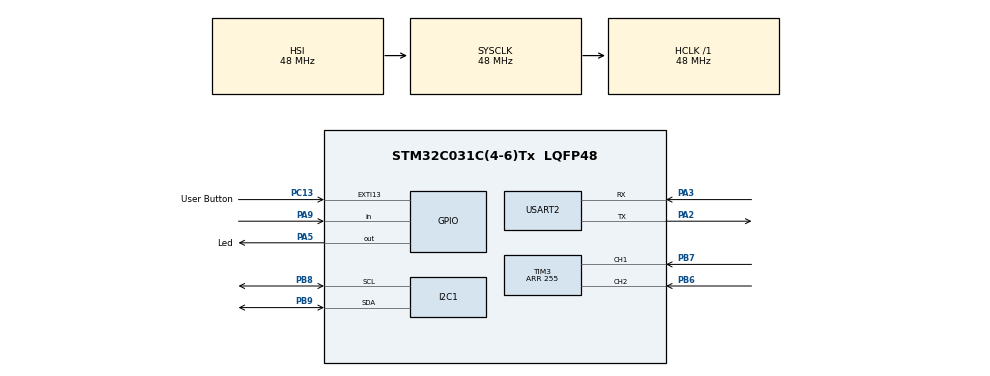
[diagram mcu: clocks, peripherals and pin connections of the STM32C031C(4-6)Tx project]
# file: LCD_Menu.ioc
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I2C1.Timing=0x20303E5D
Mcu.Family=STM32C0
Mcu.Name=STM32C031C(4-6)Tx
Mcu.Package=LQFP48
NVIC.EXTI4_15_IRQn=true\:0\:0\:false\:false\:true\:true\:true\:true
PA13.Mode=Serial_Wire
PA13.Signal=DEBUG_SWDIO
PA14-BOOT0.Mode=Serial_Wire
PA14-BOOT0.Signal=DEBUG_SWCLK
PA2.Mode=Asynchronous
PA2.Signal=USART2_TX
PA3.Mode=Asynchronous
PA3.Signal=USART2_RX
PA5.GPIO_Label=Led
PA5.GPIO_Speed=GPIO_SPEED_FREQ_VERY_HIGH
PA5.PinState=GPIO_PIN_SET
PA5.Signal=GPIO_Output
PA9.Signal=GPIO_Input
PB6.Signal=S_TIM3_CH2
PB7.Signal=S_TIM3_CH1
PB8.Mode=I2C
PB8.Signal=I2C1_SCL
PB9.Mode=I2C
PB9.Signal=I2C1_SDA
PC13.GPIO_Label=User Button
PC13.Signal=GPXTI13
PC14-OSCX_IN\ (PC14).Mode=LSE-External-Oscillator
PC14-OSCX_IN\ (PC14).Signal=RCC_OSCX_IN
PC15-OSCX_OUT\ (PC15).Mode=LSE-External-Oscillator
PC15-OSCX_OUT\ (PC15).Signal=RCC_OSCX_OUT
PF0-OSC_IN\ (PF0).Mode=HSE-External-Oscillator
PF0-OSC_IN\ (PF0).Signal=RCC_OSC_IN
PF1-OSC_OUT\ (PF1).Mode=HSE-External-Oscillator
PF1-OSC_OUT\ (PF1).Signal=RCC_OSC_OUT
ProjectManager.HeapSize=0x200
ProjectManager.StackSize=0x400
ProjectManager.TargetToolchain=STM32CubeIDE
RCC.ADCFreq_Value=48000000
RCC.AHBFreq_Value=48000000
RCC.CortexFreq_Value=48000000
RCC.EXTERNAL_CLOCK_VALUE=12288000
RCC.HCLKFreq_Value=48000000
RCC.HSE_VALUE=48000000
RCC.HSISYSCLKDivider=RCC_HSI_DIV1
RCC.HSI_VALUE=48000000
RCC.SYSCLKFreq_VALUE=48000000
SH.S_TIM3_CH1.0=TIM3_CH1,Encoder_Interface
SH.S_TIM3_CH2.0=TIM3_CH2,Encoder_Interface
TIM3.AutoReloadPreload=TIM_AUTORELOAD_PRELOAD_ENABLE
TIM3.EncoderMode=TIM_ENCODERMODE_TI12
TIM3.Period=255
USART2.VirtualMode-Asynchronous=VM_ASYNC
board=NUCLEO-C031C6

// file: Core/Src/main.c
/* USER CODE BEGIN Header */
/**
  ******************************************************************************
  * @file           : main.c
  * @brief          : Main program body
  ******************************************************************************
  * @attention
  *
  * Copyright (c) 2024 STMicroelectronics.
  * All rights reserved.
  *
  * This software is licensed under terms that can be found in the LICENSE file
  * in the root directory of this software component.
  * If no LICENSE file comes with this software, it is provided AS-IS.
  *
  ******************************************************************************
  */
/* USER CODE END Header */
#include "main.h"

/* USER CODE BEGIN Includes */
#include <stdio.h>
#include "LCD_I2C.h"
#include "LCD_Menu.h"
#include "LCD_Menu_Data.h"

/* USER CODE END Includes */

/* USER CODE BEGIN PD */
#define LCD_ADDRESS 0x20

/* USER CODE END PD */

I2C_HandleTypeDef hi2c1;

TIM_HandleTypeDef htim3;

UART_HandleTypeDef huart2;

/* USER CODE BEGIN PV */

LCD_HandleTypeDef hlcd;

volatile uint32_t counter = 0;
uint32_t prev_count = 0;

/* USER CODE END PV */

void SystemClock_Config(void);
static void MX_GPIO_Init(void);
static void MX_I2C1_Init(void);
static void MX_USART2_UART_Init(void);
static void MX_TIM3_Init(void);
/* USER CODE BEGIN PFP */
void initializeMenu(void);
uint8_t checkEncoderButtonChange (uint32_t interval, uint8_t * prevState);
GPIO_PinState readEncoderButton ();
uint32_t millis();

/* USER CODE END PFP */

/* USER CODE BEGIN 0 */
LCD_MENU_List menuLists[3];
LCD_MENU_Item menuItems[10];
LCD_MENU_Data dataItems[10];

char * hometxt[4] =
{
		"Set temp",
		"Current temp 1",
		"Current temp 2",
		"Process Name"
};

char * profiles[4] =
{
		"^..",
		"PEEK",
		"PPE",
		"milk jug",
};

char * temperatures[4] =
{
		"^..",
		"group 1",
		"group 2",
		""
};

char * speed[4] =
{
		"^..",
		"Kp: 1",
		"Ki: 0.5",
		"",
};

char * testStringArray1[4] =
{
		"^..",
		"gfjh",
		"kfghjk",
		"hjh"
};

char * testStringArray2[4] =
{
		"^..",
		"Poudrier",
		"Tevin",
		""
};

char * credits[4] =
{
		"Tevin Poudrier",
		"Jonah Shadley",
		"Colson Miller",
		"Josiah Mart"
};

/* USER CODE END 0 */

int main(void)
{

  /* MCU Configuration--------------------------------------------------------*/

  /* Reset of all peripherals, Initializes the Flash interface and the Systick. */
  HAL_Init();

  /* Configure the system clock */
  SystemClock_Config();

  /* USER CODE BEGIN SysInit */
  SysTick_Config(SystemCoreClock / 1000); //set to 1ms per tick

  /* USER CODE END SysInit */

  /* Initialize all configured peripherals */
  MX_GPIO_Init();
  MX_I2C1_Init();
  MX_USART2_UART_Init();
  MX_TIM3_Init();
  /* USER CODE BEGIN 2 */
  HAL_TIM_Encoder_Start(&htim3, TIM_CHANNEL_ALL);

  initializeMenu();

  LCD_MENU_List* headNode = &menuLists[0];
  LCD_MENU_List* currentList = headNode;
  LCD_MENU_Item* currentItem = NULL;

  LCD_MENU_PrintList (headNode);
  HAL_Delay(1000);

  uint8_t dir;
  uint8_t prevEncVal = 0;

  uint8_t inItem = 0;
  uint8_t editingData = 0;

  /* USER CODE END 2 */

  /* Infinite loop */
  /* USER CODE BEGIN WHILE */
  while (1)
  {
	  dir = (TIM3->CR1 & 0x0010) >> 4;

	  //Move cursor
	  if (inItem == 0) {
		  if (prevEncVal - TIM3->CNT > 2 && dir == 1) {
			  currentList = LCD_MENU_MoveListCursor(currentList, MV_CURSOR_DOWN);
		  }
		  else if (TIM3->CNT - prevEncVal > 2 && dir == 0) {
			  currentList = LCD_MENU_MoveListCursor(currentList, MV_CURSOR_UP);
		  }
	  }
	  else if(inItem == 1 && editingData == 0) {
		  if (prevEncVal - TIM3->CNT > 2 && dir == 1) {
			  currentItem = LCD_MENU_MoveItemCursor(currentItem, MV_CURSOR_DOWN);
		  }
		  else if (TIM3->CNT - prevEncVal > 2 && dir == 0) {
			  currentItem = LCD_MENU_MoveItemCursor(currentItem, MV_CURSOR_UP);
		  }

	  }

	  //Select item
	  if(HAL_GPIO_ReadPin(GPIOA, GPIO_PIN_9) == 1 && inItem == 0 && editingData == 0) {
		  inItem = 1;
		  currentItem = currentList->items[currentList->cursor];
		  LCD_MENU_PrintItem(currentItem);
	  }
	  //Select item action
	  else if(HAL_GPIO_ReadPin(GPIOA, GPIO_PIN_9) == 1 && inItem == 1 && editingData == 0) {
		  if (currentItem->type == ITEM_TYPE_DISPLAY) {
			  inItem = 0;
			  LCD_MENU_PrintList (currentList);
		  }
		  else if (currentItem->rowType[currentItem->cursor] == ITEM_ACTION_RETURN) {
			  inItem = 0;
			  LCD_MENU_PrintList (currentList);
		  }
		  else if (currentItem->rowType[currentItem->cursor] == ITEM_ACTION_DATA) {
			  editingData = 1;
			  LCD_SetCursor(&hlcd, 16, currentItem->cursor);
			  LCD_PrintChar(&hlcd, '>');
		  }

	  }

	  //Editing data
	  if (editingData == 1) {
		  if (prevEncVal != TIM3->CNT) {
			  LCD_MENU_DataIncrement(currentItem->dataElement[currentItem->cursor], dir);
		  }
		  if(HAL_GPIO_ReadPin(GPIOA, GPIO_PIN_9) == 1) {
			  editingData = 0;
			  LCD_SetCursor(&hlcd, 16, currentItem->cursor);
			  LCD_PrintChar(&hlcd, ' ');
		  }
	  }

	  if (counter - prev_count > 10) {
		  prevEncVal = TIM3->CNT;
	  }

	  HAL_Delay(50);

    /* USER CODE END WHILE */

  }
}

void SystemClock_Config(void)
{
  RCC_OscInitTypeDef RCC_OscInitStruct = {0};
  RCC_ClkInitTypeDef RCC_ClkInitStruct = {0};

  /** Initializes the RCC Oscillators according to the specified parameters
  * in the RCC_OscInitTypeDef structure.
  */
  RCC_OscInitStruct.OscillatorType = RCC_OSCILLATORTYPE_HSI;
  RCC_OscInitStruct.HSIState = RCC_HSI_ON;
  RCC_OscInitStruct.HSIDiv = RCC_HSI_DIV1;
  RCC_OscInitStruct.HSICalibrationValue = RCC_HSICALIBRATION_DEFAULT;
  if (HAL_RCC_OscConfig(&RCC_OscInitStruct) != HAL_OK)
  {
    Error_Handler();
  }

  /** Initializes the CPU, AHB and APB buses clocks
  */
  RCC_ClkInitStruct.ClockType = RCC_CLOCKTYPE_HCLK|RCC_CLOCKTYPE_SYSCLK
                              |RCC_CLOCKTYPE_PCLK1;
  RCC_ClkInitStruct.SYSCLKSource = RCC_SYSCLKSOURCE_HSI;
  RCC_ClkInitStruct.SYSCLKDivider = RCC_SYSCLK_DIV1;
  RCC_ClkInitStruct.AHBCLKDivider = RCC_HCLK_DIV1;
  RCC_ClkInitStruct.APB1CLKDivider = RCC_APB1_DIV1;

  if (HAL_RCC_ClockConfig(&RCC_ClkInitStruct, FLASH_LATENCY_1) != HAL_OK)
  {
    Error_Handler();
  }
}

static void MX_I2C1_Init(void)
{

  hi2c1.Instance = I2C1;
  hi2c1.Init.Timing = 0x20303E5D;
  hi2c1.Init.OwnAddress1 = 0;
  hi2c1.Init.AddressingMode = I2C_ADDRESSINGMODE_7BIT;
  hi2c1.Init.DualAddressMode = I2C_DUALADDRESS_DISABLE;
  hi2c1.Init.OwnAddress2 = 0;
  hi2c1.Init.OwnAddress2Masks = I2C_OA2_NOMASK;
  hi2c1.Init.GeneralCallMode = I2C_GENERALCALL_DISABLE;
  hi2c1.Init.NoStretchMode = I2C_NOSTRETCH_DISABLE;
  if (HAL_I2C_Init(&hi2c1) != HAL_OK)
  {
    Error_Handler();
  }

  /** Configure Analogue filter
  */
  if (HAL_I2CEx_ConfigAnalogFilter(&hi2c1, I2C_ANALOGFILTER_ENABLE) != HAL_OK)
  {
    Error_Handler();
  }

  /** Configure Digital filter
  */
  if (HAL_I2CEx_ConfigDigitalFilter(&hi2c1, 0) != HAL_OK)
  {
    Error_Handler();
  }

}

static void MX_TIM3_Init(void)
{

  TIM_Encoder_InitTypeDef sConfig = {0};
  TIM_MasterConfigTypeDef sMasterConfig = {0};

  htim3.Instance = TIM3;
  htim3.Init.Prescaler = 0;
  htim3.Init.CounterMode = TIM_COUNTERMODE_UP;
  htim3.Init.Period = 255;
  htim3.Init.ClockDivision = TIM_CLOCKDIVISION_DIV1;
  htim3.Init.AutoReloadPreload = TIM_AUTORELOAD_PRELOAD_ENABLE;
  sConfig.EncoderMode = TIM_ENCODERMODE_TI12;
  sConfig.IC1Polarity = TIM_ICPOLARITY_RISING;
  sConfig.IC1Selection = TIM_ICSELECTION_DIRECTTI;
  sConfig.IC1Prescaler = TIM_ICPSC_DIV1;
  sConfig.IC1Filter = 0;
  sConfig.IC2Polarity = TIM_ICPOLARITY_RISING;
  sConfig.IC2Selection = TIM_ICSELECTION_DIRECTTI;
  sConfig.IC2Prescaler = TIM_ICPSC_DIV1;
  sConfig.IC2Filter = 0;
  if (HAL_TIM_Encoder_Init(&htim3, &sConfig) != HAL_OK)
  {
    Error_Handler();
  }
  sMasterConfig.MasterOutputTrigger = TIM_TRGO_RESET;
  sMasterConfig.MasterSlaveMode = TIM_MASTERSLAVEMODE_DISABLE;
  if (HAL_TIMEx_MasterConfigSynchronization(&htim3, &sMasterConfig) != HAL_OK)
  {
    Error_Handler();
  }

}

static void MX_USART2_UART_Init(void)
{

  huart2.Instance = USART2;
  huart2.Init.BaudRate = 115200;
  huart2.Init.WordLength = UART_WORDLENGTH_8B;
  huart2.Init.StopBits = UART_STOPBITS_1;
  huart2.Init.Parity = UART_PARITY_NONE;
  huart2.Init.Mode = UART_MODE_TX_RX;
  huart2.Init.HwFlowCtl = UART_HWCONTROL_NONE;
  huart2.Init.OverSampling = UART_OVERSAMPLING_16;
  huart2.Init.OneBitSampling = UART_ONE_BIT_SAMPLE_DISABLE;
  huart2.Init.ClockPrescaler = UART_PRESCALER_DIV1;
  huart2.AdvancedInit.AdvFeatureInit = UART_ADVFEATURE_NO_INIT;
  if (HAL_UART_Init(&huart2) != HAL_OK)
  {
    Error_Handler();
  }

}

static void MX_GPIO_Init(void)
{
  GPIO_InitTypeDef GPIO_InitStruct = {0};

  /* GPIO Ports Clock Enable */
  __HAL_RCC_GPIOC_CLK_ENABLE();
  __HAL_RCC_GPIOF_CLK_ENABLE();
  __HAL_RCC_GPIOA_CLK_ENABLE();
  __HAL_RCC_GPIOB_CLK_ENABLE();

  /*Configure GPIO pin Output Level */
  HAL_GPIO_WritePin(Led_GPIO_Port, Led_Pin, GPIO_PIN_SET);

  /*Configure GPIO pin : User_Button_Pin */
  GPIO_InitStruct.Pin = User_Button_Pin;
  GPIO_InitStruct.Mode = GPIO_MODE_IT_RISING;
  GPIO_InitStruct.Pull = GPIO_NOPULL;
  HAL_GPIO_Init(User_Button_GPIO_Port, &GPIO_InitStruct);

  /*Configure GPIO pin : Led_Pin */
  GPIO_InitStruct.Pin = Led_Pin;
  GPIO_InitStruct.Mode = GPIO_MODE_OUTPUT_PP;
  GPIO_InitStruct.Pull = GPIO_NOPULL;
  GPIO_InitStruct.Speed = GPIO_SPEED_FREQ_VERY_HIGH;
  HAL_GPIO_Init(Led_GPIO_Port, &GPIO_InitStruct);

  /*Configure GPIO pin : PA9 */
  GPIO_InitStruct.Pin = GPIO_PIN_9;
  GPIO_InitStruct.Mode = GPIO_MODE_INPUT;
  GPIO_InitStruct.Pull = GPIO_NOPULL;
  HAL_GPIO_Init(GPIOA, &GPIO_InitStruct);

  /* EXTI interrupt init*/
  HAL_NVIC_SetPriority(EXTI4_15_IRQn, 0, 0);
  HAL_NVIC_EnableIRQ(EXTI4_15_IRQn);

}

/* USER CODE BEGIN 4 */

void initializeMenu(void) {
	LCD_Init(&hlcd, &hi2c1, LCD_ADDRESS);

	LCD_MENU_ListInit(&hlcd, &menuLists[0]);
	LCD_MENU_ListInit(&hlcd, &menuLists[1]);
	LCD_MENU_ListInit(&hlcd, &menuLists[2]);

	LCD_MENU_ExtendList(&menuLists[0], &menuLists[1]);
	//LCD_MENU_ExtendList(&menuLists[1], &menuLists[2]);

	LCD_MENU_ItemInit(&hlcd, &menuItems[0], "Home", hometxt, ITEM_TYPE_DISPLAY);

	LCD_MENU_ItemInit(&hlcd, &menuItems[1], "Profiles", profiles, ITEM_TYPE_CONFIG);
	LCD_MENU_ItemSetAction(&menuItems[1], 0, ITEM_ACTION_RETURN);

	//Temperatures
	LCD_MENU_ItemInit(&hlcd, &menuItems[2], "Temperatures", temperatures, ITEM_TYPE_CONFIG);
	LCD_MENU_ItemSetAction(&menuItems[2], 0, ITEM_ACTION_RETURN);
	LCD_MENU_DataInit(&dataItems[0], &hlcd, 1, 17);
	LCD_MENU_DataInit(&dataItems[1], &hlcd, 2, 17);
	dataItems[0].value = 200;
	dataItems[1].value = 220;
	LCD_MENU_ItemAddData(&menuItems[2], &dataItems[0]);
	LCD_MENU_ItemAddData(&menuItems[2], &dataItems[1]);

	LCD_MENU_ItemInit(&hlcd, &menuItems[3], "Speed", speed, ITEM_TYPE_CONFIG);
	LCD_MENU_ItemSetAction(&menuItems[3], 0, ITEM_ACTION_RETURN);

	LCD_MENU_ItemInit(&hlcd, &menuItems[4], "test1234", testStringArray1, ITEM_TYPE_CONFIG);
	LCD_MENU_ItemSetAction(&menuItems[4], 0, ITEM_ACTION_RETURN);

	LCD_MENU_ItemInit(&hlcd, &menuItems[5], "test0312", testStringArray2, ITEM_TYPE_CONFIG);
	LCD_MENU_ItemSetAction(&menuItems[5], 0, ITEM_ACTION_RETURN);

	LCD_MENU_ItemInit(&hlcd, &menuItems[6], "Credits", credits, ITEM_TYPE_DISPLAY);

	for (uint8_t i = 0, j = -1; i < 7; i++) {
	  if (i % 4 == 0) {
		  j++;
	  }
	  LCD_MENU_AddItemToList(&menuLists[j], &menuItems[i]);
	}
}

uint8_t checkEncoderButtonChange (uint32_t interval, uint8_t * prevState) {
	if (millis() % interval == 0) {
		uint8_t newState = readEncoderButton();
		if (newState != *prevState) {
			return 1;
			*prevState = newState;
		}
	}
	return 0;
}

GPIO_PinState readEncoderButton () {
	return HAL_GPIO_ReadPin(GPIOB, GPIO_PIN_5);
}

uint32_t millis() {
	return counter;
}

/* USER CODE END 4 */

void Error_Handler(void)
{
  __disable_irq();
  while (1)
  {
  }
}
